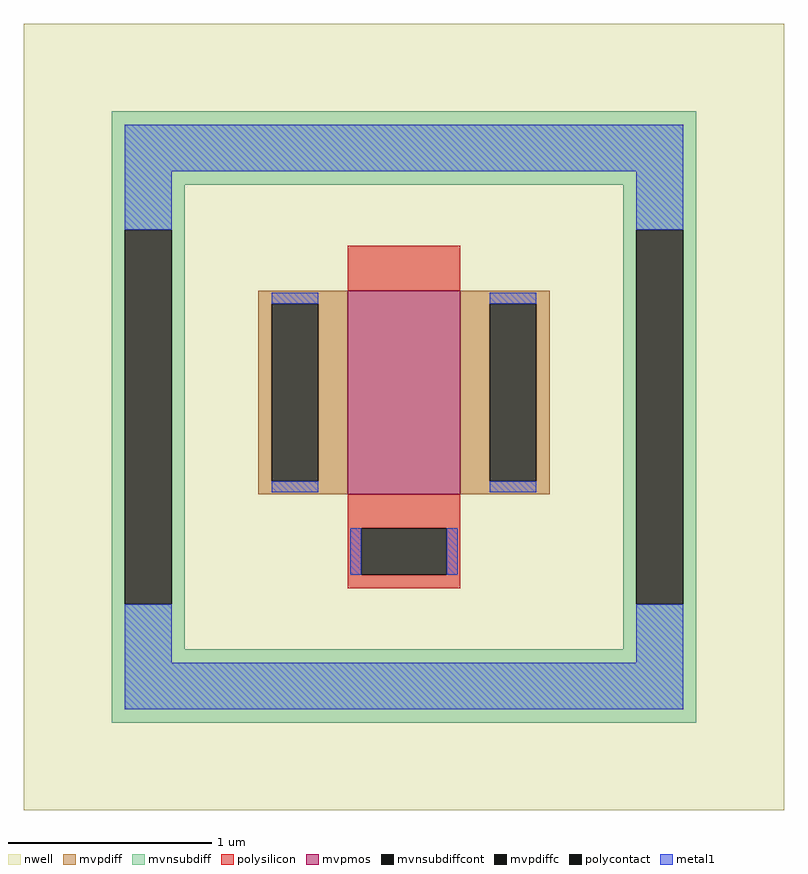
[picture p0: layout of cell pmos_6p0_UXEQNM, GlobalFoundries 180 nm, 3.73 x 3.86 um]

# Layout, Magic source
magic
tech gf180mcuD
magscale 1 10
<< nwell >>
rect -378 -386 368 386
<< mvpmos >>
rect -60 -76 50 124
<< mvpdiff >>
rect -148 111 -60 124
rect -148 -63 -135 111
rect -89 -63 -60 111
rect -148 -76 -60 -63
rect 50 111 138 124
rect 50 -63 79 111
rect 125 -63 138 111
rect 50 -76 138 -63
<< mvpdiffc >>
rect -135 -63 -89 111
rect 79 -63 125 111
<< mvnsubdiff >>
rect -292 228 282 300
rect -292 184 -220 228
rect -292 -184 -279 184
rect -233 -184 -220 184
rect 210 184 282 228
rect -292 -228 -220 -184
rect 210 -184 223 184
rect 269 -184 282 184
rect 210 -228 282 -184
rect -292 -300 282 -228
<< mvnsubdiffcont >>
rect -279 -184 -233 184
rect 223 -184 269 184
<< polysilicon >>
rect -60 124 50 168
rect -60 -109 50 -76
rect -60 -155 -47 -109
rect 37 -155 50 -109
rect -60 -168 50 -155
<< polycontact >>
rect -47 -155 37 -109
<< metal1 >>
rect -279 241 269 287
rect -279 184 -233 241
rect 223 184 269 241
rect -135 111 -89 122
rect -135 -74 -89 -63
rect 79 111 125 122
rect 79 -74 125 -63
rect -58 -155 -47 -109
rect 37 -155 48 -109
rect -279 -241 -233 -184
rect 223 -241 269 -184
rect -279 -287 269 -241
<< properties >>
string FIXED_BBOX -246 -264 246 264
string gencell pmos_6p0
string library gf180mcu
string parameters w 1 l 0.5 m 1 nf 1 diffcov 100 polycov 100 guard 1 glc 1 grc 1 gtc 0 gbc 0 tbcov 100 rlcov 100 topc 0 botc 1 poverlap 0 doverlap 1 lmin 0.5 wmin 0.3 full_metal 1 compatible {pmos_3p3 pmos_6p0}
<< end >>
